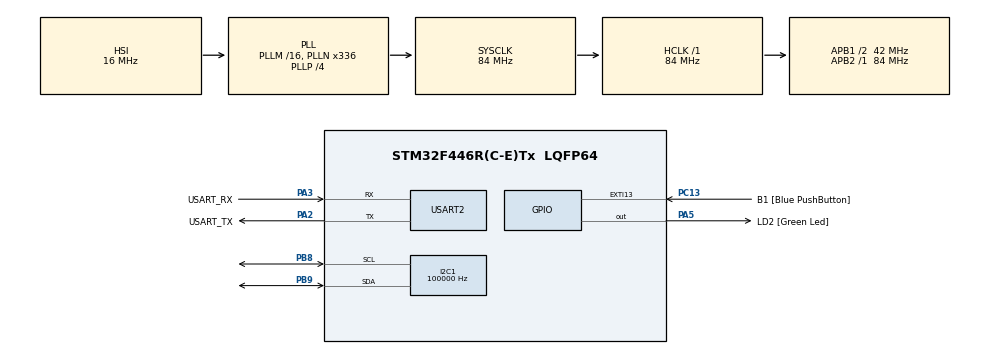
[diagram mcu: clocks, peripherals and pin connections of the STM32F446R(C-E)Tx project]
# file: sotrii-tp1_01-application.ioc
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FREERTOS.INCLUDE_vTaskDelayUntil=1
FREERTOS.Tasks01=defaultTask,0,128,StartDefaultTask,Default,NULL,Dynamic,NULL,NULL
FREERTOS.configCHECK_FOR_STACK_OVERFLOW=1
FREERTOS.configGENERATE_RUN_TIME_STATS=1
FREERTOS.configRECORD_STACK_HIGH_ADDRESS=1
FREERTOS.configTICK_RATE_HZ=1000
FREERTOS.configUSE_IDLE_HOOK=1
FREERTOS.configUSE_STATS_FORMATTING_FUNCTIONS=1
FREERTOS.configUSE_TICK_HOOK=1
FREERTOS.configUSE_TRACE_FACILITY=1
I2C1.ClockSpeed=100000
Mcu.Family=STM32F4
Mcu.Name=STM32F446R(C-E)Tx
Mcu.Package=LQFP64
NVIC.EXTI15_10_IRQn=true\:5\:0\:false\:false\:true\:true\:true\:true\:true
NVIC.I2C1_ER_IRQn=true\:5\:0\:false\:false\:true\:true\:true\:true\:true
NVIC.I2C1_EV_IRQn=true\:5\:0\:false\:false\:true\:true\:true\:true\:true
NVIC.PriorityGroup=NVIC_PRIORITYGROUP_4
NVIC.TIM1_UP_TIM10_IRQn=true\:15\:0\:false\:false\:true\:false\:false\:true\:true
NVIC.TIM2_IRQn=true\:5\:0\:false\:false\:true\:true\:true\:true\:true
NVIC.TimeBase=TIM1_UP_TIM10_IRQn
NVIC.TimeBaseIP=TIM1
PA13.GPIO_Label=TMS
PA13.Mode=Serial_Wire
PA13.Signal=SYS_JTMS-SWDIO
PA14.GPIO_Label=TCK
PA14.Mode=Serial_Wire
PA14.Signal=SYS_JTCK-SWCLK
PA2.GPIO_Label=USART_TX
PA2.Mode=Asynchronous
PA2.Signal=USART2_TX
PA3.GPIO_Label=USART_RX
PA3.Mode=Asynchronous
PA3.Signal=USART2_RX
PA5.GPIO_Label=LD2 [Green Led]
PA5.Signal=GPIO_Output
PB3.GPIO_Label=SWO
PB3.Signal=SYS_JTDO-SWO
PB8.GPIO_Pu=GPIO_NOPULL
PB8.Mode=I2C
PB8.Signal=I2C1_SCL
PB9.GPIO_Pu=GPIO_NOPULL
PB9.Mode=I2C
PB9.Signal=I2C1_SDA
PC13.GPIO_Label=B1 [Blue PushButton]
PC13.GPIO_ModeDefaultEXTI=GPIO_MODE_IT_FALLING
PC13.Signal=GPXTI13
PC14-OSC32_IN.Mode=LSE-External-Oscillator
PC14-OSC32_IN.Signal=RCC_OSC32_IN
PC15-OSC32_OUT.Mode=LSE-External-Oscillator
PC15-OSC32_OUT.Signal=RCC_OSC32_OUT
PH0-OSC_IN.Mode=HSE-External-Oscillator
PH0-OSC_IN.Signal=RCC_OSC_IN
PH1-OSC_OUT.Mode=HSE-External-Oscillator
PH1-OSC_OUT.Signal=RCC_OSC_OUT
ProjectManager.HeapSize=0x200
ProjectManager.StackSize=0x400
ProjectManager.TargetToolchain=STM32CubeIDE
RCC.48MHZClocksFreq_Value=84000000
RCC.AHBFreq_Value=84000000
RCC.APB1CLKDivider=RCC_HCLK_DIV2
RCC.APB1Freq_Value=42000000
RCC.APB1TimFreq_Value=84000000
RCC.APB2Freq_Value=84000000
RCC.APB2TimFreq_Value=84000000
RCC.CortexFreq_Value=84000000
RCC.FLatency-AdvancedSettings=FLASH_LATENCY_2
RCC.HCLKFreq_Value=84000000
RCC.HSE_VALUE=8000000
RCC.HSI_VALUE=16000000
RCC.PLLN=336
RCC.PLLP=RCC_PLLP_DIV4
RCC.SYSCLKFreq_VALUE=84000000
RCC.SYSCLKSource=RCC_SYSCLKSOURCE_PLLCLK
RCC.USBFreq_Value=168000000
RCC.VCOOutputFreq_Value=336000000
TIM2.Period=4200-1
TIM2.Prescaler=2-1
USART2.VirtualMode=VM_ASYNC
VP_FREERTOS_VS_CMSIS_V1.Mode=CMSIS_V1
VP_SYS_VS_tim1.Mode=TIM1
VP_TIM2_VS_ClockSourceINT.Mode=Internal
board=NUCLEO-F446RE

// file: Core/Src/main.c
/* USER CODE BEGIN Header */
/**
  ******************************************************************************
  * @file           : main.c
  * @brief          : Main program body
  ******************************************************************************
  * @attention
  *
  * Copyright (c) 2026 STMicroelectronics.
  * All rights reserved.
  *
  * This software is licensed under terms that can be found in the LICENSE file
  * in the root directory of this software component.
  * If no LICENSE file comes with this software, it is provided AS-IS.
  *
  ******************************************************************************
  */
/* USER CODE END Header */
#include "main.h"
#include "cmsis_os.h"
#include "i2c.h"
#include "tim.h"
#include "usart.h"
#include "gpio.h"

/* USER CODE BEGIN Includes */
/* Demo includes. */
#include "logger.h"
#include "dwt.h"

/* Application includes. */
#include "app.h"

/* USER CODE END Includes */

/* USER CODE BEGIN PV */
volatile unsigned long ulHighFrequencyTimerTicks;

/* USER CODE END PV */

void SystemClock_Config(void);
void MX_FREERTOS_Init(void);

/* USER CODE BEGIN 0 */
#if (1 == LOGGER_CONFIG_USE_SEMIHOSTING)
extern void initialise_monitor_handles(void);
#endif

/* USER CODE END 0 */

int main(void)
{

  /* USER CODE BEGIN 1 */
  #if (1 == LOGGER_CONFIG_USE_SEMIHOSTING)
  initialise_monitor_handles();
  #endif

  /* USER CODE END 1 */

  /* MCU Configuration--------------------------------------------------------*/

  /* Reset of all peripherals, Initializes the Flash interface and the Systick. */
  HAL_Init();

  /* Configure the system clock */
  SystemClock_Config();

  /* Initialize all configured peripherals */
  MX_GPIO_Init();
  MX_USART2_UART_Init();
  MX_TIM2_Init();
  MX_I2C1_Init();
  /* USER CODE BEGIN 2 */
  /* Start timer */
  HAL_TIM_Base_Start_IT(&htim2);

  /* add application, ... */
  app_init();

  /* USER CODE END 2 */

  /* Call init function for freertos objects (in cmsis_os2.c) */
  MX_FREERTOS_Init();

  /* Start scheduler */
  osKernelStart();

  /* We should never get here as control is now taken by the scheduler */

  /* Infinite loop */
  while (1)
  {

  }
}

void SystemClock_Config(void)
{
  RCC_OscInitTypeDef RCC_OscInitStruct = {0};
  RCC_ClkInitTypeDef RCC_ClkInitStruct = {0};

  /** Configure the main internal regulator output voltage
  */
  __HAL_RCC_PWR_CLK_ENABLE();
  __HAL_PWR_VOLTAGESCALING_CONFIG(PWR_REGULATOR_VOLTAGE_SCALE3);

  /** Initializes the RCC Oscillators according to the specified parameters
  * in the RCC_OscInitTypeDef structure.
  */
  RCC_OscInitStruct.OscillatorType = RCC_OSCILLATORTYPE_HSI;
  RCC_OscInitStruct.HSIState = RCC_HSI_ON;
  RCC_OscInitStruct.HSICalibrationValue = RCC_HSICALIBRATION_DEFAULT;
  RCC_OscInitStruct.PLL.PLLState = RCC_PLL_ON;
  RCC_OscInitStruct.PLL.PLLSource = RCC_PLLSOURCE_HSI;
  RCC_OscInitStruct.PLL.PLLM = 16;
  RCC_OscInitStruct.PLL.PLLN = 336;
  RCC_OscInitStruct.PLL.PLLP = RCC_PLLP_DIV4;
  RCC_OscInitStruct.PLL.PLLQ = 2;
  RCC_OscInitStruct.PLL.PLLR = 2;
  if (HAL_RCC_OscConfig(&RCC_OscInitStruct) != HAL_OK)
  {
    Error_Handler();
  }

  /** Initializes the CPU, AHB and APB buses clocks
  */
  RCC_ClkInitStruct.ClockType = RCC_CLOCKTYPE_HCLK|RCC_CLOCKTYPE_SYSCLK
                              |RCC_CLOCKTYPE_PCLK1|RCC_CLOCKTYPE_PCLK2;
  RCC_ClkInitStruct.SYSCLKSource = RCC_SYSCLKSOURCE_PLLCLK;
  RCC_ClkInitStruct.AHBCLKDivider = RCC_SYSCLK_DIV1;
  RCC_ClkInitStruct.APB1CLKDivider = RCC_HCLK_DIV2;
  RCC_ClkInitStruct.APB2CLKDivider = RCC_HCLK_DIV1;

  if (HAL_RCC_ClockConfig(&RCC_ClkInitStruct, FLASH_LATENCY_2) != HAL_OK)
  {
    Error_Handler();
  }
}

/* USER CODE BEGIN 4 */
/* Functions needed when configGENERATE_RUN_TIME_STATS is on */
void configureTimerForRunTimeStats(void)
{
    ulHighFrequencyTimerTicks = 0;
}

unsigned long getRunTimeCounterValue(void)
{
	return ulHighFrequencyTimerTicks;
}

/* USER CODE END 4 */

void HAL_TIM_PeriodElapsedCallback(TIM_HandleTypeDef *htim)
{
  if (htim->Instance == TIM1)
  {
    HAL_IncTick();
  }
  /* USER CODE BEGIN Callback 1 */
	if (htim->Instance == TIM2)
	{
		ulHighFrequencyTimerTicks++;
	}

  /* USER CODE END Callback 1 */
}

void Error_Handler(void)
{
  __disable_irq();
  while (1)
  {
  }
}

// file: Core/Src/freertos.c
/* USER CODE BEGIN Header */
/**
  ******************************************************************************
  * File Name          : freertos.c
  * Description        : Code for freertos applications
  ******************************************************************************
  * @attention
  *
  * Copyright (c) 2026 STMicroelectronics.
  * All rights reserved.
  *
  * This software is licensed under terms that can be found in the LICENSE file
  * in the root directory of this software component.
  * If no LICENSE file comes with this software, it is provided AS-IS.
  *
  ******************************************************************************
  */
/* USER CODE END Header */

#include "FreeRTOS.h"
#include "task.h"
#include "main.h"
#include "cmsis_os.h"

osThreadId defaultTaskHandle;

void StartDefaultTask(void const * argument);

void MX_FREERTOS_Init(void); /* (MISRA C 2004 rule 8.1) */

/* GetIdleTaskMemory prototype (linked to static allocation support) */
void vApplicationGetIdleTaskMemory( StaticTask_t **ppxIdleTaskTCBBuffer, StackType_t **ppxIdleTaskStackBuffer, uint32_t *pulIdleTaskStackSize );

/* Hook prototypes */
void configureTimerForRunTimeStats(void);
unsigned long getRunTimeCounterValue(void);
void vApplicationIdleHook(void);
void vApplicationTickHook(void);
void vApplicationStackOverflowHook(xTaskHandle xTask, signed char *pcTaskName);

/* USER CODE BEGIN 1 */
/* Functions needed when configGENERATE_RUN_TIME_STATS is on */
__weak void configureTimerForRunTimeStats(void)
{

}

__weak unsigned long getRunTimeCounterValue(void)
{
return 0;
}
/* USER CODE END 1 */

/* USER CODE BEGIN 2 */
__weak void vApplicationIdleHook( void )
{
   /* vApplicationIdleHook() will only be called if configUSE_IDLE_HOOK is set
   to 1 in FreeRTOSConfig.h. It will be called on each iteration of the idle
   task. It is essential that code added to this hook function never attempts
   to block in any way (for example, call xQueueReceive() with a block time
   specified, or call vTaskDelay()). If the application makes use of the
   vTaskDelete() API function (as this demo application does) then it is also
   important that vApplicationIdleHook() is permitted to return to its calling
   function, because it is the responsibility of the idle task to clean up
   memory allocated by the kernel to any task that has since been deleted. */
}
/* USER CODE END 2 */

/* USER CODE BEGIN 3 */
__weak void vApplicationTickHook( void )
{
   /* This function will be called by each tick interrupt if
   configUSE_TICK_HOOK is set to 1 in FreeRTOSConfig.h. User code can be
   added here, but the tick hook is called from an interrupt context, so
   code must not attempt to block, and only the interrupt safe FreeRTOS API
   functions can be used (those that end in FromISR()). */
}
/* USER CODE END 3 */

/* USER CODE BEGIN 4 */
__weak void vApplicationStackOverflowHook(xTaskHandle xTask, signed char *pcTaskName)
{
   /* Run time stack overflow checking is performed if
   configCHECK_FOR_STACK_OVERFLOW is defined to 1 or 2. This hook function is
   called if a stack overflow is detected. */
}
/* USER CODE END 4 */

/* USER CODE BEGIN GET_IDLE_TASK_MEMORY */
static StaticTask_t xIdleTaskTCBBuffer;
static StackType_t xIdleStack[configMINIMAL_STACK_SIZE];

void vApplicationGetIdleTaskMemory( StaticTask_t **ppxIdleTaskTCBBuffer, StackType_t **ppxIdleTaskStackBuffer, uint32_t *pulIdleTaskStackSize )
{
  *ppxIdleTaskTCBBuffer = &xIdleTaskTCBBuffer;
  *ppxIdleTaskStackBuffer = &xIdleStack[0];
  *pulIdleTaskStackSize = configMINIMAL_STACK_SIZE;
  /* place for user code */
}
/* USER CODE END GET_IDLE_TASK_MEMORY */

void MX_FREERTOS_Init(void) {

  /* Create the thread(s) */
  /* definition and creation of defaultTask */
  osThreadDef(defaultTask, StartDefaultTask, osPriorityNormal, 0, 128);
  defaultTaskHandle = osThreadCreate(osThread(defaultTask), NULL);

}

void StartDefaultTask(void const * argument)
{
  for(;;)
  {
    osDelay(1);
  }
}
